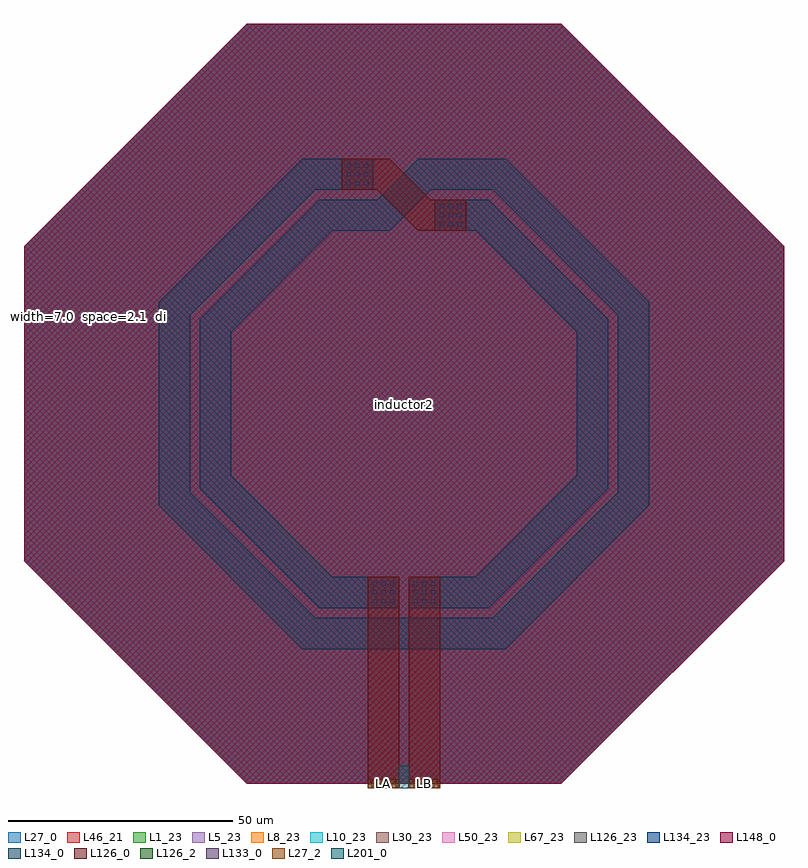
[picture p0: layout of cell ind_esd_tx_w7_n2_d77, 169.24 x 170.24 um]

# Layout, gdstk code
import gdstk
lib = gdstk.Library(unit=1e-6, precision=1e-09)
def R(c, l, rs):  # rectangles x0, y0, x1, y1
    for r in rs: c.add(gdstk.rectangle(r[:2], r[2:], *l))
def A(c, l, x, y, w, h, nx, ny, dx, dy):  # array of equal rectangles
    R(c, l, [(x+i*dx, y+j*dy, x+i*dx+w, y+j*dy+h) for i in range(nx) for j in range(ny)])
def P(c, l, *ps):  # polygons
    for p in ps: c.add(gdstk.Polygon(p, *l))
L1_23 = (1, 23)
L5_23 = (5, 23)
L8_23 = (8, 23)
L10_23 = (10, 23)
L27_0 = (27, 0)
L27_2 = (27, 2)
L30_23 = (30, 23)
L46_21 = (46, 21)
L50_23 = (50, 23)
L67_23 = (67, 23)
L126_0 = (126, 0)
L126_2 = (126, 2)
L126_23 = (126, 23)
L133_0 = (133, 0)
L134_0 = (134, 0)
L134_23 = (134, 23)
L148_0 = (148, 0)
L201_0 = (201, 0)

ind_esd_tx_w7_n2_d77 = lib.new_cell('ind_esd_tx_w7_n2_d77')
P(ind_esd_tx_w7_n2_d77, L1_23, [(-35.05,0),(-84.62,49.57),(-84.62,119.67),(-35.05,169.24),(35.05,169.24),(84.62,119.67),(84.62,49.57),(35.05,0)])
P(ind_esd_tx_w7_n2_d77, L5_23, [(-35.05,0),(-84.62,49.57),(-84.62,119.67),(-35.05,169.24),(35.05,169.24),(84.62,119.67),(84.62,49.57),(35.05,0)])
P(ind_esd_tx_w7_n2_d77, L8_23, [(-35.05,0),(-84.62,49.57),(-84.62,119.67),(-35.05,169.24),(35.05,169.24),(84.62,119.67),(84.62,49.57),(35.05,0)])
P(ind_esd_tx_w7_n2_d77, L10_23, [(-35.05,0),(-84.62,49.57),(-84.62,119.67),(-35.05,169.24),(35.05,169.24),(84.62,119.67),(84.62,49.57),(35.05,0)])
P(ind_esd_tx_w7_n2_d77, L27_0, [(-35.05,0),(-84.62,49.57),(-84.62,119.67),(-35.05,169.24),(35.05,169.24),(84.62,119.67),(84.62,49.57),(35.05,0)])
R(ind_esd_tx_w7_n2_d77, L27_2, [(-8.05,-1,-1.05,1), (1.05,-1,8.05,1)])
P(ind_esd_tx_w7_n2_d77, L30_23, [(-35.05,0),(-84.62,49.57),(-84.62,119.67),(-35.05,169.24),(35.05,169.24),(84.62,119.67),(84.62,49.57),(35.05,0)])
P(ind_esd_tx_w7_n2_d77, L46_21, [(-35.05,0),(-84.62,49.57),(-84.62,119.67),(-35.05,169.24),(35.05,169.24),(84.62,119.67),(84.62,49.57),(35.05,0)])
P(ind_esd_tx_w7_n2_d77, L50_23, [(-35.05,0),(-84.62,49.57),(-84.62,119.67),(-35.05,169.24),(35.05,169.24),(84.62,119.67),(84.62,49.57),(35.05,0)])
P(ind_esd_tx_w7_n2_d77, L67_23, [(-35.05,0),(-84.62,49.57),(-84.62,119.67),(-35.05,169.24),(35.05,169.24),(84.62,119.67),(84.62,49.57),(35.05,0)])
P(ind_esd_tx_w7_n2_d77, L126_0, [(3.125,123.1),(-5.995,132.22),(-13.885,132.22),(-13.885,139.22),(-3.125,139.22),(5.995,130.1),(13.885,130.1),(13.885,123.1)])
R(ind_esd_tx_w7_n2_d77, L126_2, [(-8.05,-1,-1.05,1), (-8.05,-1,-1.05,1), (1.05,-1,8.05,1), (1.05,-1,8.05,1)])
P(ind_esd_tx_w7_n2_d77, L126_23, [(-35.05,0),(-84.62,49.57),(-84.62,119.67),(-35.05,169.24),(35.05,169.24),(84.62,119.67),(84.62,49.57),(35.05,0)])
A(ind_esd_tx_w7_n2_d77, L133_0, -6.96, 40.19, 0.9, 0.9, 3, 3, 1.96, 1.96)
A(ind_esd_tx_w7_n2_d77, L133_0, 2.14, 40.19, 0.9, 0.9, 3, 3, 1.96, 1.96)
A(ind_esd_tx_w7_n2_d77, L133_0, 7.975, 124.19, 0.9, 0.9, 3, 3, 1.96, 1.96)
A(ind_esd_tx_w7_n2_d77, L133_0, -12.795, 133.29, 0.9, 0.9, 3, 3, 1.96, 1.96)
R(ind_esd_tx_w7_n2_d77, L134_0, [(-6.885,30,6.885,37)])
P(ind_esd_tx_w7_n2_d77, L134_0, [(1.05,39.1),(1.05,46.1),(15.945,46.1),(38.5,68.655),(38.5,100.545),(15.945,123.1),(6.885,123.1),(6.885,130.1),(18.855,130.1),(45.5,103.455),(45.5,65.745),(18.855,39.1)],
  [(-18.855,39.1),(-45.5,65.745),(-45.5,103.455),(-18.855,130.1),(-6.885,130.1),(-6.885,123.1),(-15.945,123.1),(-38.5,100.545),(-38.5,68.655),(-15.945,46.1),(-1.05,46.1),(-1.05,39.1)],
  [(-6.885,123.1),(-6.885,130.1),(-5.995,130.1),(3.125,139.22),(6.885,139.22),(6.885,132.22),(6.025,132.22),(-3.095,123.1)],
  [(6.885,30),(6.885,37),(19.72,37),(47.61,64.89),(47.61,104.33),(19.72,132.22),(6.885,132.22),(6.885,139.22),(22.63,139.22),(54.61,107.24),(54.61,61.98),(22.63,30)],
  [(-22.63,30),(-54.61,61.98),(-54.61,107.24),(-22.63,139.22),(-6.885,139.22),(-6.885,132.22),(-19.72,132.22),(-47.61,104.33),(-47.61,64.89),(-19.72,37),(-6.885,37),(-6.885,30)])
P(ind_esd_tx_w7_n2_d77, L134_23, [(-35.05,0),(-84.62,49.57),(-84.62,119.67),(-35.05,169.24),(35.05,169.24),(84.62,119.67),(84.62,49.57),(35.05,0)])
P(ind_esd_tx_w7_n2_d77, L148_0, [(-35.05,0),(-84.62,49.57),(-84.62,119.67),(-35.05,169.24),(35.05,169.24),(84.62,119.67),(84.62,49.57),(35.05,0)])
R(ind_esd_tx_w7_n2_d77, L201_0, [(-1.05,-1,1.05,4)])
ind_esd_tx_w7_n2_d77.add(gdstk.FlexPath([(4.55,-1),(4.55,46.1)], 7, ends="flush", simple_path=True, layer=126, datatype=0))  # L126_0
ind_esd_tx_w7_n2_d77.add(gdstk.FlexPath([(-4.55,-1),(-4.55,46.1)], 7, ends="flush", simple_path=True, layer=126, datatype=0))  # L126_0
ind_esd_tx_w7_n2_d77.add(gdstk.Label('LB', (4.55,0), layer=27, texttype=25))
ind_esd_tx_w7_n2_d77.add(gdstk.Label('LA', (-4.55,0), layer=27, texttype=25))
ind_esd_tx_w7_n2_d77.add(gdstk.Label('inductor2', (0,84.495), layer=63, texttype=0))
ind_esd_tx_w7_n2_d77.add(gdstk.Label('  width=7.0\n  space=2.1\n  diameter=77.00\n  turns=2', (-84.62,104.025), layer=63, texttype=0))

lib.write_gds('ind_esd_tx_w7_n2_d77.gds')
